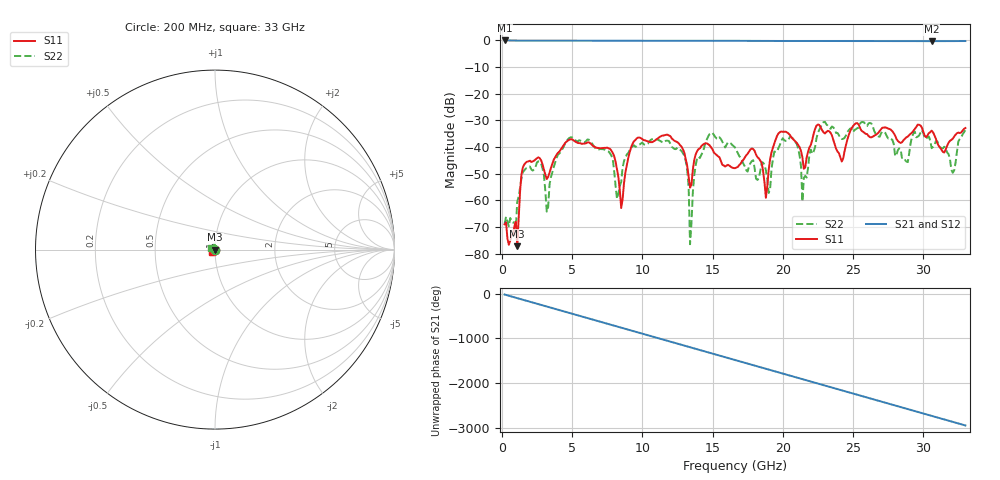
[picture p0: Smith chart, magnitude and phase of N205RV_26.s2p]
# GHZ S RI R 50
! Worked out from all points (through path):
!   329 points, 200 MHz to 33 GHz, reference 50 ohm
!   highest |S21| = -0.02 dB at 200 MHz (marker M1); lowest = -0.3 dB at 30.6 GHz (marker M2)
!   group delay of S21, straight-line fit = 248 ps
!   lowest |S11| = -77.2 dB at 1.1 GHz (marker M3), VSWR 1.00, Z = 50 - j0.00447 ohm
!   |S11| at or under -10 dB: start of sweep to end of sweep
!   |S22| runs from -76.4 to -30.5 dB; largest |S21 - S12| = 0.0019
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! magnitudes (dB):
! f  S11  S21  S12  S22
! 200 MHz  -69.0  0.0  0.0  -68.8
! 1.1 GHz  -77.2  0.0  -0.1  -60.4
! 1.6 GHz  -46.5  -0.1  -0.1  -48.8
! 2.8 GHz  -45.0  -0.1  -0.1  -46.2
! 3.2 GHz  -52.0  -0.1  -0.1  -64.2
! 5.7 GHz  -38.8  -0.1  -0.1  -37.9
! 7.8 GHz  -41.3  -0.1  -0.1  -43.2
! 8.5 GHz  -62.8  -0.1  -0.1  -53.1
! 9.4 GHz  -37.8  -0.1  -0.1  -39.3
! 11.2 GHz  -36.3  -0.2  -0.2  -37.5
! 13 GHz  -42.3  -0.2  -0.2  -43.3
! 13.4 GHz  -55.2  -0.1  -0.2  -76.4
! 13.9 GHz  -41.6  -0.2  -0.2  -44.2
! 16.6 GHz  -47.9  -0.2  -0.2  -40.1
! 19 GHz  -48.4  -0.2  -0.2  -57.2
! 20.6 GHz  -36.3  -0.2  -0.2  -36.2
! 21.4 GHz  -44.0  -0.2  -0.2  -60.4
! 22.1 GHz  -37.3  -0.2  -0.2  -42.5
! 27.6 GHz  -33.2  -0.2  -0.2  -36.5
! 30.6 GHz  -33.9  -0.3  -0.3  -40.4
! 32.1 GHz  -36.9  -0.3  -0.3  -49.6
! 33 GHz  -32.9  -0.2  -0.2  -33.6
